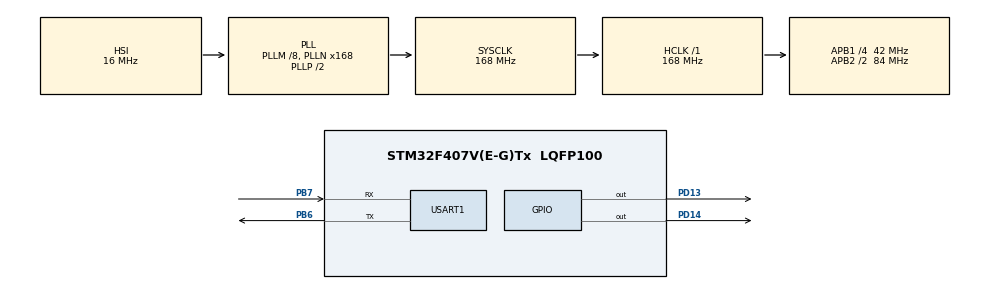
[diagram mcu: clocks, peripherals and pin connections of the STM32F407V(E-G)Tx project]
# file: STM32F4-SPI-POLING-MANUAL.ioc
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Mcu.Family=STM32F4
Mcu.Name=STM32F407V(E-G)Tx
Mcu.Package=LQFP100
NVIC.PriorityGroup=NVIC_PRIORITYGROUP_4
PA13.Mode=Serial_Wire
PA13.Signal=SYS_JTMS-SWDIO
PA14.Mode=Serial_Wire
PA14.Signal=SYS_JTCK-SWCLK
PB6.Mode=Asynchronous
PB6.Signal=USART1_TX
PB7.Mode=Asynchronous
PB7.Signal=USART1_RX
PD13.Signal=GPIO_Output
PD14.Signal=GPIO_Output
PH0-OSC_IN.Mode=HSE-External-Oscillator
PH0-OSC_IN.Signal=RCC_OSC_IN
PH1-OSC_OUT.Mode=HSE-External-Oscillator
PH1-OSC_OUT.Signal=RCC_OSC_OUT
ProjectManager.HeapSize=0x200
ProjectManager.StackSize=0x400
ProjectManager.TargetToolchain=STM32CubeIDE
RCC.48MHZClocksFreq_Value=84000000
RCC.AHBFreq_Value=168000000
RCC.APB1CLKDivider=RCC_HCLK_DIV4
RCC.APB1Freq_Value=42000000
RCC.APB1TimFreq_Value=84000000
RCC.APB2CLKDivider=RCC_HCLK_DIV2
RCC.APB2Freq_Value=84000000
RCC.APB2TimFreq_Value=168000000
RCC.CortexFreq_Value=168000000
RCC.HCLKFreq_Value=168000000
RCC.HSE_VALUE=25000000
RCC.HSI_VALUE=16000000
RCC.LSE_VALUE=32768
RCC.PLLM=8
RCC.PLLN=168
RCC.SYSCLKFreq_VALUE=168000000
RCC.SYSCLKSource=RCC_SYSCLKSOURCE_PLLCLK
RCC.VCOOutputFreq_Value=336000000
USART1.VirtualMode=VM_ASYNC
board=custom

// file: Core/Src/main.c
/* USER CODE BEGIN Header */
/**
  ******************************************************************************
  * @file           : main.c
  * @brief          : Main program body
  ******************************************************************************
  * @attention
  *
  * Copyright (c) 2024 STMicroelectronics.
  * All rights reserved.
  *
  * This software is licensed under terms that can be found in the LICENSE file
  * in the root directory of this software component.
  * If no LICENSE file comes with this software, it is provided AS-IS.
  *
  ******************************************************************************
  */
/* USER CODE END Header */
#include "main.h"

UART_HandleTypeDef huart1;

/* USER CODE BEGIN PV */
SPI_HandleTypeDef hspi2 ;

/* USER CODE END PV */

void SystemClock_Config(void);
static void MX_GPIO_Init(void);
static void MX_USART1_UART_Init(void);
/* USER CODE BEGIN PFP */
static void MX_SPI2_Init(void);
/* USER CODE END PFP */

int main(void)
{

  /* MCU Configuration--------------------------------------------------------*/

  /* Reset of all peripherals, Initializes the Flash interface and the Systick. */
  HAL_Init();

  /* Configure the system clock */
  SystemClock_Config();

  /* Initialize all configured peripherals */
  MX_GPIO_Init();
  MX_USART1_UART_Init();
  /* USER CODE BEGIN 2 */
  __HAL_SPI_ENABLE(&hspi2);

  /* USER CODE END 2 */

  /* Infinite loop */
  while (1)
  {

  }
}

void SystemClock_Config(void)
{
  RCC_OscInitTypeDef RCC_OscInitStruct = {0};
  RCC_ClkInitTypeDef RCC_ClkInitStruct = {0};

  /** Configure the main internal regulator output voltage
  */
  __HAL_RCC_PWR_CLK_ENABLE();
  __HAL_PWR_VOLTAGESCALING_CONFIG(PWR_REGULATOR_VOLTAGE_SCALE1);

  /** Initializes the RCC Oscillators according to the specified parameters
  * in the RCC_OscInitTypeDef structure.
  */
  RCC_OscInitStruct.OscillatorType = RCC_OSCILLATORTYPE_HSI;
  RCC_OscInitStruct.HSIState = RCC_HSI_ON;
  RCC_OscInitStruct.HSICalibrationValue = RCC_HSICALIBRATION_DEFAULT;
  RCC_OscInitStruct.PLL.PLLState = RCC_PLL_ON;
  RCC_OscInitStruct.PLL.PLLSource = RCC_PLLSOURCE_HSI;
  RCC_OscInitStruct.PLL.PLLM = 8;
  RCC_OscInitStruct.PLL.PLLN = 168;
  RCC_OscInitStruct.PLL.PLLP = RCC_PLLP_DIV2;
  RCC_OscInitStruct.PLL.PLLQ = 4;
  if (HAL_RCC_OscConfig(&RCC_OscInitStruct) != HAL_OK)
  {
    Error_Handler();
  }

  /** Initializes the CPU, AHB and APB buses clocks
  */
  RCC_ClkInitStruct.ClockType = RCC_CLOCKTYPE_HCLK|RCC_CLOCKTYPE_SYSCLK
                              |RCC_CLOCKTYPE_PCLK1|RCC_CLOCKTYPE_PCLK2;
  RCC_ClkInitStruct.SYSCLKSource = RCC_SYSCLKSOURCE_PLLCLK;
  RCC_ClkInitStruct.AHBCLKDivider = RCC_SYSCLK_DIV1;
  RCC_ClkInitStruct.APB1CLKDivider = RCC_HCLK_DIV4;
  RCC_ClkInitStruct.APB2CLKDivider = RCC_HCLK_DIV2;

  if (HAL_RCC_ClockConfig(&RCC_ClkInitStruct, FLASH_LATENCY_5) != HAL_OK)
  {
    Error_Handler();
  }
}

static void MX_USART1_UART_Init(void)
{

  huart1.Instance = USART1;
  huart1.Init.BaudRate = 115200;
  huart1.Init.WordLength = UART_WORDLENGTH_8B;
  huart1.Init.StopBits = UART_STOPBITS_1;
  huart1.Init.Parity = UART_PARITY_NONE;
  huart1.Init.Mode = UART_MODE_TX_RX;
  huart1.Init.HwFlowCtl = UART_HWCONTROL_NONE;
  huart1.Init.OverSampling = UART_OVERSAMPLING_16;
  if (HAL_UART_Init(&huart1) != HAL_OK)
  {
    Error_Handler();
  }

}

static void MX_GPIO_Init(void)
{
  GPIO_InitTypeDef GPIO_InitStruct = {0};

  /* GPIO Ports Clock Enable */
  __HAL_RCC_GPIOH_CLK_ENABLE();
  __HAL_RCC_GPIOD_CLK_ENABLE();
  __HAL_RCC_GPIOA_CLK_ENABLE();
  __HAL_RCC_GPIOB_CLK_ENABLE();

  /*Configure GPIO pin Output Level */
  HAL_GPIO_WritePin(GPIOD, GPIO_PIN_13|GPIO_PIN_14, GPIO_PIN_RESET);

  /*Configure GPIO pins : PD13 PD14 */
  GPIO_InitStruct.Pin = GPIO_PIN_13|GPIO_PIN_14;
  GPIO_InitStruct.Mode = GPIO_MODE_OUTPUT_PP;
  GPIO_InitStruct.Pull = GPIO_NOPULL;
  GPIO_InitStruct.Speed = GPIO_SPEED_FREQ_LOW;
  HAL_GPIO_Init(GPIOD, &GPIO_InitStruct);

}

/* USER CODE BEGIN 4 */
static void MX_SPI2_Init(void){

	hspi2.Instance = SPI2;
	hspi2.Init.Mode=SPI_MODE_MASTER;
	hspi2.Init.Direction=SPI_DIRECTION_2LINES;
	hspi2.Init.DataSize=SPI_DATASIZE_8BIT;
	hspi2.Init.CLKPolarity=SPI_POLARITY_HIGH;
	hspi2.Init.CLKPhase=SPI_PHASE_1EDGE;
	hspi2.Init.NSS=SPI_NSS_SOFT;
	hspi2.Init.BaudRatePrescaler=SPI_BAUDRATEPRESCALER_128;
	hspi2.Init.FirstBit=SPI_FIRSTBIT_MSB;
	hspi2.Init.TIMode=SPI_TIMODE_DISABLE;
	hspi2.Init.CRCCalculation=SPI_CRCCALCULATION_DISABLE;
	hspi2.Init.CRCPolynomial=7;

	if ( HAL_SPI_Init(&hspi2)!=HAL_OK) {
		Error_Handler();
	}
}

/* USER CODE END 4 */

void Error_Handler(void)
{
  __disable_irq();
  while (1)
  {
  }
}
